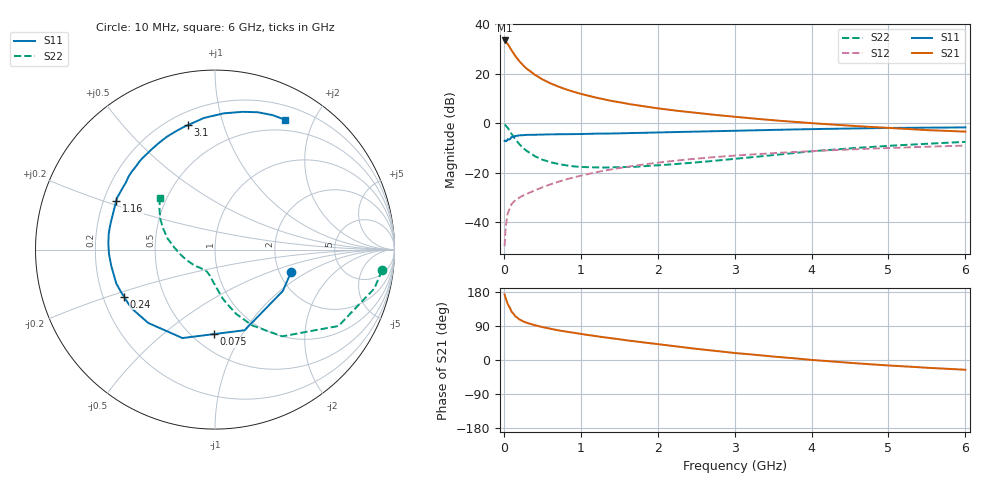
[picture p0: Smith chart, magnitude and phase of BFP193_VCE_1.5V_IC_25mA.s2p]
! Infineon Technologies  Discrete & RF Semiconductors
! BFP193
! VCE = 1.5 V,  IC =  25 mA
! Common Emitter S-Parameters:  Jan 2016
# GHz  S  MA  R  50
!  f  S11  S21  S12  S22
! GHz  MAG  ANG  MAG  ANG  MAG  ANG  MAG  ANG
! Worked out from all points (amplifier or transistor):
!   210 points, 10 MHz to 6 GHz, reference 50 ohm
!   highest |S21| = 33.4 dB at 10 MHz (marker M1)
!   |S21| within 3 dB of that: start of sweep to 80.59 MHz
!   unconditionally stable (mu >= 1): 664.3 MHz to 3.882 GHz
!   at 185 MHz: K = 0.56, MSG = 28.0 dB, |S12| = -30.4 dB
!   at 1.52 GHz: K = 1.08, MAG = 11.4 dB, |S12| = -18.0 dB
!   at 6 GHz: K = 0.94, MSG = 2.8 dB, |S12| = -9.0 dB
!   S11 on the Smith chart (normalised r, x): 10 MHz: 2.32, -0.72; 75 MHz: 0.63, -0.76; 240 MHz: 0.29, -0.22; 1.16 GHz: 0.25, +0.22; 3.1 GHz: 0.28, +0.77; 6 GHz: 0.36, +1.62
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0.01  0.4422 -16.4  46.7 173.1  0.0033 84.3  0.9371 -7.1
0.02  0.4426 -31.4  44.92 165.2  0.0064 79.7  0.9141 -13.7
0.05  0.4786 -69.8  39.67 147.6  0.0149 66.4  0.8092 -31.7
0.075  0.4711 -91.0  34.16 139.0  0.019 59.3  0.6993 -40.5
0.1  0.5252 -110.2  29.71 127.4  0.0232 54.8  0.6117 -52.2
0.15  0.5527 -132.3  22.52 115.1  0.0279 51.0  0.47 -63.9
0.2  0.5691 -145.2  17.96 107.2  0.0314 50.5  0.3792 -71.6
0.24  0.5714 -152.7  15.32 103.0  0.034 50.4  0.3274 -75.8
0.3  0.5815 -161.1  12.46 97.7  0.0375 51.8  0.2741 -81.2
0.4  0.585 -170.9  9.527 91.7  0.0442 53.9  0.217 -87.4
0.5  0.5911 -177.7  7.662 86.8  0.0504 56.2  0.1837 -92.2
0.6  0.5952 176.8  6.431 82.5  0.0579 57.7  0.1639 -96.5
0.7  0.5984 171.8  5.543 78.5  0.065 58.7  0.1508 -100.2
0.88  0.6 164.3  4.43 72.7  0.0786 58.7  0.1361 -106.3
1.02  0.6048 158.9  3.84 68.3  0.0887 58.5  0.1305 -110.5
1.16  0.6136 153.7  3.395 64.1  0.0993 58.2  0.1283 -115.1
1.6  0.6301 140.0  2.471 51.8  0.1317 54.3  0.1312 -128.2
2.02  0.6504 128.3  1.976 41.2  0.1612 49.9  0.1419 -141.1
3.1  0.7095 102.3  1.3 16.8  0.2273 36.7  0.1971 -173.3
4.1  0.764 84.7  0.977 -1.2  0.2782 25.0  0.2785 164.9
5.1  0.8036 71.5  0.789 -15.6  0.3194 13.9  0.3564 149.1
6  0.8221 61.6  0.676 -25.7  0.3535 4.3  0.42 137.0
